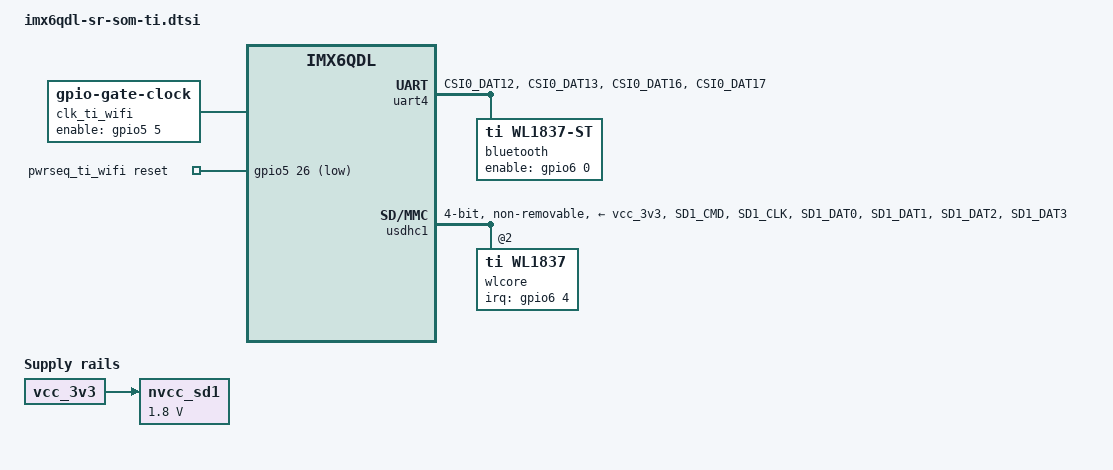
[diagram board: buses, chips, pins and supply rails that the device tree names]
// SPDX-License-Identifier: (GPL-2.0-only OR MIT)
/*
 * Copyright (C) 2013,2014 Russell King
 */
#include <dt-bindings/gpio/gpio.h>

/ {
	nvcc_sd1: regulator-nvcc-sd1 {
		compatible = "regulator-fixed";
		regulator-always-on;
		regulator-name = "nvcc_sd1";
		regulator-min-microvolt = <1800000>;
		regulator-max-microvolt = <1800000>;
		vin-supply = <&vcc_3v3>;
	};

	clk_ti_wifi: ti-wifi-clock {
		/* This is a hack around the kernel - using "fixed clock"
		 * results in the "pinctrl" properties being ignored, and
		 * the clock not being output.  Instead, use a gated clock
		 * and the unrouted WL_XTAL_PU gpio.
		 */
		compatible = "gpio-gate-clock";
		#clock-cells = <0>;
		clock-frequency = <32768>;
		pinctrl-names = "default";
		pinctrl-0 = <&pinctrl_microsom_ti_clk>;
		enable-gpios = <&gpio5 5 GPIO_ACTIVE_HIGH>;
	};

	pwrseq_ti_wifi: ti-wifi-pwrseq {
		compatible = "mmc-pwrseq-simple";
		pinctrl-names = "default";
		pinctrl-0 = <&pinctrl_microsom_ti_wifi_en>;
		reset-gpios = <&gpio5 26 GPIO_ACTIVE_LOW>;
		post-power-on-delay-ms = <200>;
		clocks = <&clk_ti_wifi>;
		clock-names = "ext_clock";
	};
};

&iomuxc {
	pinctrl_microsom_ti_bt: microsom-ti-btgrp {
		fsl,pins = <
			/* BT_EN_SOC */
			MX6QDL_PAD_CSI0_DAT14__GPIO6_IO00	0x40013070
		>;
	};

	pinctrl_microsom_ti_clk: microsom-ti-clkgrp {
		fsl,pins = <
			/* EXT_32K */
			MX6QDL_PAD_GPIO_8__XTALOSC_REF_CLK_32K	0x1b0b0
			/* WL_XTAL_PU (unrouted) */
			MX6QDL_PAD_DISP0_DAT11__GPIO5_IO05 0x40013070
		>;
	};

	pinctrl_microsom_ti_wifi_en: microsom-ti-wifi-engrp {
		fsl,pins = <
			/* WLAN_EN_SOC */
			MX6QDL_PAD_CSI0_DAT8__GPIO5_IO26	0x40013070
		>;
	};

	pinctrl_microsom_ti_wifi_irq: microsom-ti-wifi-irqgrp {
		fsl,pins = <
			/* WLAN_IRQ */
			MX6QDL_PAD_CSI0_DAT18__GPIO6_IO04	0x40013070
		>;
	};

	pinctrl_microsom_uart4: microsom-uart4grp {
		fsl,pins = <
			MX6QDL_PAD_CSI0_DAT12__UART4_TX_DATA 0x1b0b1
			MX6QDL_PAD_CSI0_DAT13__UART4_RX_DATA 0x1b0b1
			MX6QDL_PAD_CSI0_DAT16__UART4_RTS_B 0x1b0b1
			MX6QDL_PAD_CSI0_DAT17__UART4_CTS_B 0x1b0b1
		>;
	};

	pinctrl_microsom_usdhc1: microsom-usdhc1grp {
		fsl,pins = <
			MX6QDL_PAD_SD1_CMD__SD1_CMD    0x17059
			MX6QDL_PAD_SD1_CLK__SD1_CLK    0x10059
			MX6QDL_PAD_SD1_DAT0__SD1_DATA0 0x17059
			MX6QDL_PAD_SD1_DAT1__SD1_DATA1 0x17059
			MX6QDL_PAD_SD1_DAT2__SD1_DATA2 0x17059
			MX6QDL_PAD_SD1_DAT3__SD1_DATA3 0x17059
		>;
	};
};

/* UART4 - Connected to optional TI Wi-Fi/BT/FM */
&uart4 {
	pinctrl-names = "default";
	pinctrl-0 = <&pinctrl_microsom_uart4>;
	uart-has-rtscts;
	status = "okay";

	bluetooth {
		compatible = "ti,wl1837-st";
		clocks = <&clk_ti_wifi>;
		clock-names = "ext_clock";
		enable-gpios = <&gpio6 0 GPIO_ACTIVE_HIGH>;
		pinctrl-names = "default";
		pinctrl-0 = <&pinctrl_microsom_ti_bt>;
	};
};

/* USDHC1 - Connected to optional TI Wi-Fi/BT/FM */
&usdhc1 {
	pinctrl-names = "default";
	pinctrl-0 = <&pinctrl_microsom_usdhc1>;
	bus-width = <4>;
	keep-power-in-suspend;
	mmc-pwrseq = <&pwrseq_ti_wifi>;
	cap-power-off-card;
	non-removable;
	vmmc-supply = <&vcc_3v3>;
	/* vqmmc-supply = <&nvcc_sd1>; - MMC layer doesn't like it! */
	status = "okay";
	#address-cells = <1>;
	#size-cells = <0>;

	wlcore@2 {
		compatible = "ti,wl1837";
		reg = <2>;
		interrupts-extended = <&gpio6 4 IRQ_TYPE_LEVEL_HIGH>;
		pinctrl-names = "default";
		pinctrl-0 = <&pinctrl_microsom_ti_wifi_irq>;
	};
};
